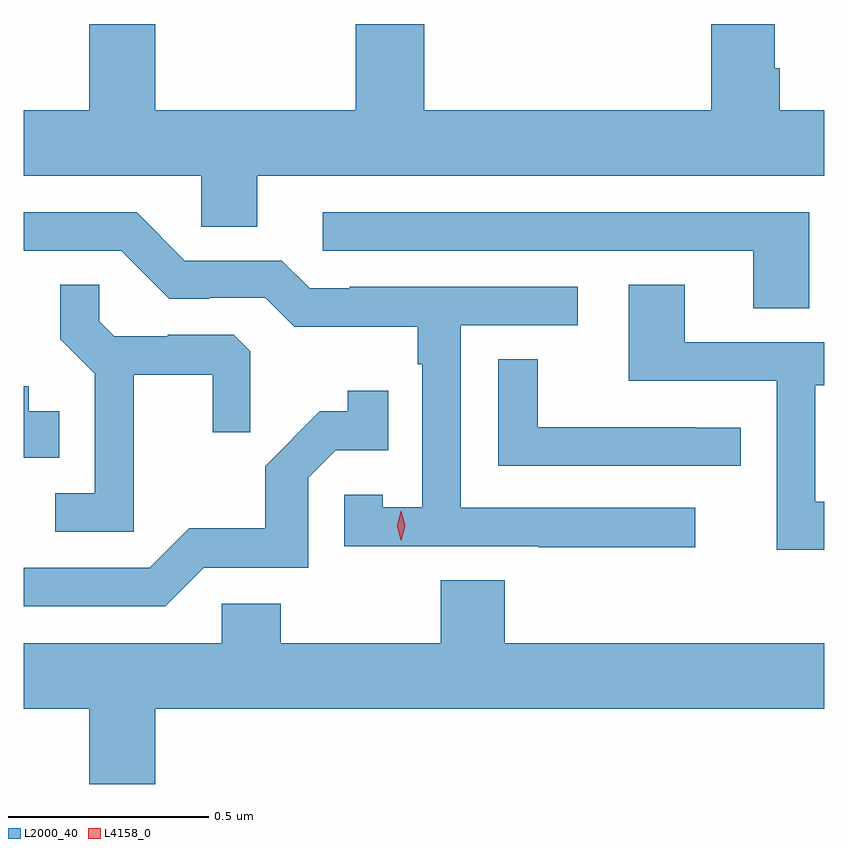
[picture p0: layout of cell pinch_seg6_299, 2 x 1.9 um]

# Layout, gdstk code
import gdstk
lib = gdstk.Library(unit=1e-6, precision=1e-09)
def P(c, l, *ps):  # polygons
    for p in ps: c.add(gdstk.Polygon(p, *l))
L2000_40 = (2000, 40)
L4158_0 = (4158, 0)

pinch_seg6_299 = lib.new_cell('pinch_seg6_299')
P(pinch_seg6_299, L2000_40, [(788.803,996.62),(790.22,996.62),(790.22,996.784),(790.109,996.784),(790.109,996.888),(790.096,996.888),(790.096,996.999),(789.938,996.999),(789.938,996.784),(789.221,996.784),(789.221,996.999),(789.05,996.999),(789.05,996.784),(788.548,996.784),(788.548,996.999),(788.384,996.999),(788.384,996.784),(788.22,996.784),(788.22,996.62),(788.664,996.62),(788.664,996.493),(788.803,996.493)],
  [(790.183,996.528),(788.967,996.528),(788.967,996.432),(790.043,996.432),(790.043,996.289),(790.183,996.289)],
  [(789.898,995.79),(789.312,995.79),(789.312,996.246),(789.604,996.246),(789.604,996.342),(789.034,996.342),(789.034,996.339),(788.934,996.339),(788.865,996.408),(788.622,996.408),(788.502,996.528),(788.22,996.528),(788.22,996.432),(788.463,996.432),(788.583,996.312),(788.684,996.312),(788.684,996.315),(788.823,996.315),(788.896,996.242),(789.204,996.242),(789.204,996.149),(789.216,996.149),(789.216,995.791),(789.117,995.791),(789.117,995.823),(789.021,995.823),(789.021,995.694),(789.505,995.694),(789.505,995.692),(789.898,995.692)],
  [(790.22,995.805),(790.198,995.805),(790.198,996.096),(790.22,996.096),(790.22,996.204),(789.871,996.204),(789.871,996.347),(789.731,996.347),(789.731,996.108),(790.101,996.108),(790.101,995.685),(790.22,995.685)],
  [(788.495,996.122),(788.692,996.122),(788.692,995.979),(788.786,995.979),(788.786,996.181),(788.745,996.222),(788.58,996.222),(788.58,996.219),(788.446,996.219),(788.409,996.256),(788.409,996.347),(788.311,996.347),(788.311,996.211),(788.397,996.125),(788.397,995.826),(788.298,995.826),(788.298,995.73),(788.495,995.73)],
  [(790.012,995.99),(789.899,995.99),(789.899,995.991),(789.504,995.991),(789.504,996.161),(789.405,996.161),(789.405,995.895),(790.012,995.895)],
  [(788.308,996.031),(788.233,996.031),(788.233,996.094),(788.22,996.094),(788.22,995.915),(788.308,995.915)],
  [(788.67,995.64),(788.931,995.64),(788.931,995.865),(789,995.934),(789.131,995.934),(789.131,996.082),(789.03,996.082),(789.03,996.032),(788.96,996.032),(788.823,995.894),(788.823,995.739),(788.634,995.739),(788.535,995.64),(788.22,995.64),(788.22,995.544),(788.574,995.544)],
  [(788.548,995.288),(790.22,995.288),(790.22,995.452),(789.422,995.452),(789.422,995.609),(789.262,995.609),(789.262,995.452),(788.862,995.452),(788.862,995.55),(788.715,995.55),(788.715,995.452),(788.22,995.452),(788.22,995.288),(788.384,995.288),(788.384,995.1),(788.548,995.1)])
P(pinch_seg6_299, L4158_0, [(789.162,995.709),(789.153,995.745),(789.162,995.781),(789.163,995.781),(789.163,995.781),(789.173,995.745),(789.163,995.709),(789.163,995.709)])

lib.write_gds('pinch_seg6_299.gds')
